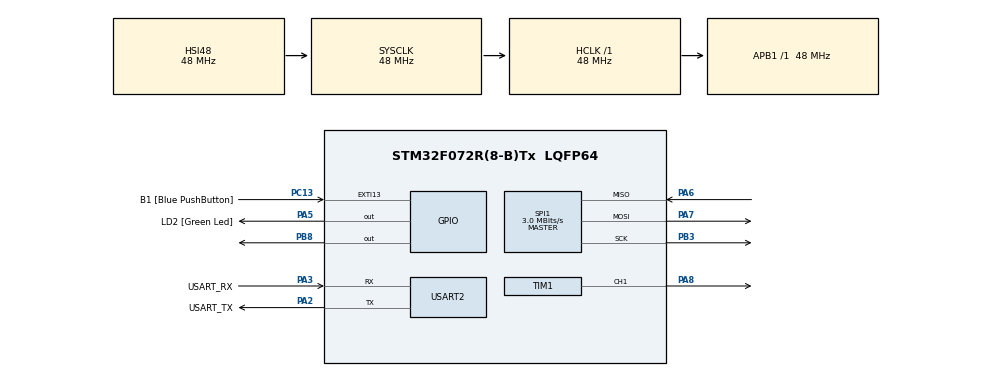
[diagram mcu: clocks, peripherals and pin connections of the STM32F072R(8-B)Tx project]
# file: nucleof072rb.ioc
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Mcu.Family=STM32F0
Mcu.Name=STM32F072R(8-B)Tx
Mcu.Package=LQFP64
PA13.GPIO_Label=TMS
PA13.Mode=Serial_Wire
PA13.Signal=SYS_SWDIO
PA14.GPIO_Label=TCK
PA14.Mode=Serial_Wire
PA14.Signal=SYS_SWCLK
PA2.GPIO_Label=USART_TX
PA2.GPIO_Mode=GPIO_MODE_AF_PP
PA2.GPIO_PuPd=GPIO_NOPULL
PA2.GPIO_Speed=GPIO_SPEED_FREQ_LOW
PA2.Mode=Asynchronous
PA2.Signal=USART2_TX
PA3.GPIO_Label=USART_RX
PA3.GPIO_Mode=GPIO_MODE_AF_PP
PA3.GPIO_PuPd=GPIO_NOPULL
PA3.GPIO_Speed=GPIO_SPEED_FREQ_LOW
PA3.Mode=Asynchronous
PA3.Signal=USART2_RX
PA5.GPIO_Label=LD2 [Green Led]
PA5.GPIO_Mode=GPIO_MODE_OUTPUT_PP
PA5.GPIO_PuPd=GPIO_NOPULL
PA5.GPIO_Speed=GPIO_SPEED_FREQ_LOW
PA5.Signal=GPIO_Output
PA6.Mode=Full_Duplex_Master
PA6.Signal=SPI1_MISO
PA7.Mode=Full_Duplex_Master
PA7.Signal=SPI1_MOSI
PA8.Signal=S_TIM1_CH1
PB3.Mode=Full_Duplex_Master
PB3.Signal=SPI1_SCK
PB8.Signal=GPIO_Output
PC13.GPIO_Label=B1 [Blue PushButton]
PC13.GPIO_ModeDefaultEXTI=GPIO_MODE_IT_FALLING
PC13.Signal=GPXTI13
PC14-OSC32_IN.Mode=LSE-External-Oscillator
PC14-OSC32_IN.Signal=RCC_OSC32_IN
PC15-OSC32_OUT.Mode=LSE-External-Oscillator
PC15-OSC32_OUT.Signal=RCC_OSC32_OUT
PF0-OSC_IN.Mode=HSE-External-Clock-Source
PF0-OSC_IN.Signal=RCC_OSC_IN
PF1-OSC_OUT.Signal=RCC_OSC_OUT
ProjectManager.HeapSize=0x200
ProjectManager.StackSize=0x400
ProjectManager.TargetToolchain=STM32CubeIDE
RCC.AHBFreq_Value=48000000
RCC.APB1Freq_Value=48000000
RCC.APB1TimFreq_Value=48000000
RCC.FLatency-AdvancedSettings=FLASH_LATENCY_1
RCC.HCLKFreq_Value=48000000
RCC.PLLDivider=RCC_PREDIV_DIV2
RCC.PLLMUL=RCC_PLL_MUL12
RCC.PREFETCH_ENABLE-AdvancedSettings=1
RCC.SYSCLKFreq_VALUE=48000000
RCC.SYSCLKSource=RCC_SYSCLKSOURCE_HSI48
SH.S_TIM1_CH1.0=TIM1_CH1,PWM Generation1 CH1
SPI1.BaudRatePrescaler=SPI_BAUDRATEPRESCALER_16
SPI1.CLKPhase=SPI_PHASE_2EDGE
SPI1.CLKPolarity=SPI_POLARITY_HIGH
SPI1.CalculateBaudRate=3.0 MBits/s
SPI1.DataSize=SPI_DATASIZE_8BIT
SPI1.Direction=SPI_DIRECTION_2LINES
SPI1.Mode=SPI_MODE_MASTER
SPI1.VirtualType=VM_MASTER
TIM1.Channel-PWM\ Generation1\ CH1=TIM_CHANNEL_1
TIM1.Period=64000
TIM1.Prescaler=14
USART2.VirtualMode=VM_ASYNC
USART2.VirtualMode-Asynchronous=VM_ASYNC
VP_TIM1_VS_ClockSourceINT.Mode=Internal
board=NUCLEO-F072RB

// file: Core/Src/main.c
/* USER CODE BEGIN Header */
/**
  ******************************************************************************
  * @file           : main.c
  * @brief          : Main program body
  ******************************************************************************
  * @attention
  *
  * <h2><center>&copy; Copyright (c) 2021 STMicroelectronics.
  * All rights reserved.</center></h2>
  *
  * This software component is licensed by ST under BSD 3-Clause license,
  * the "License"; You may not use this file except in compliance with the
  * License. You may obtain a copy of the License at:
  *                        opensource.org/licenses/BSD-3-Clause
  *
  ******************************************************************************
  */
/* USER CODE END Header */
#include "main.h"
#include "spi.h"
#include "tim.h"
#include "usart.h"
#include "gpio.h"

/* USER CODE BEGIN Includes */
#include <stdint.h>
/* USER CODE END Includes */

/* USER CODE BEGIN PD */
#define cs_Port GPIOB
#define cs_Pin GPIO_PIN_8
#define min_PWM 3200 // 1 ms
#define range_PWM 3200 // adds 1 ms range
#define UART_DELAY 100
/* USER CODE END PD */

void SystemClock_Config(void);

int main(void)
{

  /* MCU Configuration--------------------------------------------------------*/

  /* Reset of all peripherals, Initializes the Flash interface and the Systick. */
  HAL_Init();

  /* Configure the system clock */
  SystemClock_Config();

  /* Initialize all configured peripherals */
  MX_GPIO_Init();
  MX_USART2_UART_Init();
  MX_SPI1_Init();
  MX_TIM1_Init();
  /* USER CODE BEGIN 2 */
  HAL_TIM_PWM_Start(&htim1, TIM_CHANNEL_1);

  // cs idle high
  HAL_GPIO_WritePin(cs_Port, cs_Pin, GPIO_PIN_SET);

  /*
    3 byte request
    Byte 0: 0x01 (7 leading zeros and a start Bit on Bit 0)
    Byte 1: 0x80 (Bit 7 => 1 to establish single-ended mode and Bits 6-4 => 000 to select Channel 0)
    Byte 2: 0x00 byte to maintain clock cycles for receiving the rest of the data
  */
  uint8_t adc_TxData[3] = {0x01, 0x80, 0x00};
  uint8_t adc_RxData[3] = {0x00, 0x00, 0x00};
  /* USER CODE END 2 */

  /* Infinite loop */
  while (1)
  {

    /* USER CODE BEGIN 3 */
	  HAL_GPIO_WritePin(cs_Port, cs_Pin, GPIO_PIN_RESET);
    HAL_StatusTypeDef spi_Status = HAL_SPI_TransmitReceive(&hspi1, adc_TxData, adc_RxData, sizeof(adc_TxData) / sizeof(adc_TxData[0]), HAL_MAX_DELAY);
    HAL_GPIO_WritePin(cs_Port, cs_Pin, GPIO_PIN_SET);

    if(spi_Status == HAL_OK)
    {
      // find the adc value by only keeping the last 10 bits
      uint32_t adc_value = ((adc_RxData[1] & 0x03) << 8) | adc_RxData[2];

      // use linear mapping. Take the range 0-1023 of adc_value and map to 3200-6400 for on time of PWM
      uint32_t mapped_value = (adc_value * range_PWM/ 1023) + min_PWM;
      __HAL_TIM_SET_COMPARE(&htim1, TIM_CHANNEL_1, mapped_value);

    } else {
      char errorMessage[] = "SPI Transmit/Receive failed\r\n";
      HAL_UART_Transmit(&huart2, (uint8_t*)errorMessage, sizeof(errorMessage) - 1, UART_DELAY);
    }
    HAL_Delay(10);

  }
  /* USER CODE END 3 */
}

void SystemClock_Config(void)
{
  RCC_OscInitTypeDef RCC_OscInitStruct = {0};
  RCC_ClkInitTypeDef RCC_ClkInitStruct = {0};
  RCC_PeriphCLKInitTypeDef PeriphClkInit = {0};

  /** Initializes the RCC Oscillators according to the specified parameters
  * in the RCC_OscInitTypeDef structure.
  */
  RCC_OscInitStruct.OscillatorType = RCC_OSCILLATORTYPE_HSI48;
  RCC_OscInitStruct.HSI48State = RCC_HSI48_ON;
  RCC_OscInitStruct.PLL.PLLState = RCC_PLL_NONE;
  if (HAL_RCC_OscConfig(&RCC_OscInitStruct) != HAL_OK)
  {
    Error_Handler();
  }
  /** Initializes the CPU, AHB and APB buses clocks
  */
  RCC_ClkInitStruct.ClockType = RCC_CLOCKTYPE_HCLK|RCC_CLOCKTYPE_SYSCLK
                              |RCC_CLOCKTYPE_PCLK1;
  RCC_ClkInitStruct.SYSCLKSource = RCC_SYSCLKSOURCE_HSI48;
  RCC_ClkInitStruct.AHBCLKDivider = RCC_SYSCLK_DIV1;
  RCC_ClkInitStruct.APB1CLKDivider = RCC_HCLK_DIV1;

  if (HAL_RCC_ClockConfig(&RCC_ClkInitStruct, FLASH_LATENCY_1) != HAL_OK)
  {
    Error_Handler();
  }
  PeriphClkInit.PeriphClockSelection = RCC_PERIPHCLK_USART2;
  PeriphClkInit.Usart2ClockSelection = RCC_USART2CLKSOURCE_PCLK1;
  if (HAL_RCCEx_PeriphCLKConfig(&PeriphClkInit) != HAL_OK)
  {
    Error_Handler();
  }
}

void Error_Handler(void)
{
  __disable_irq();
  while (1)
  {
  }
}

/************************ (C) COPYRIGHT STMicroelectronics *****END OF FILE****/
